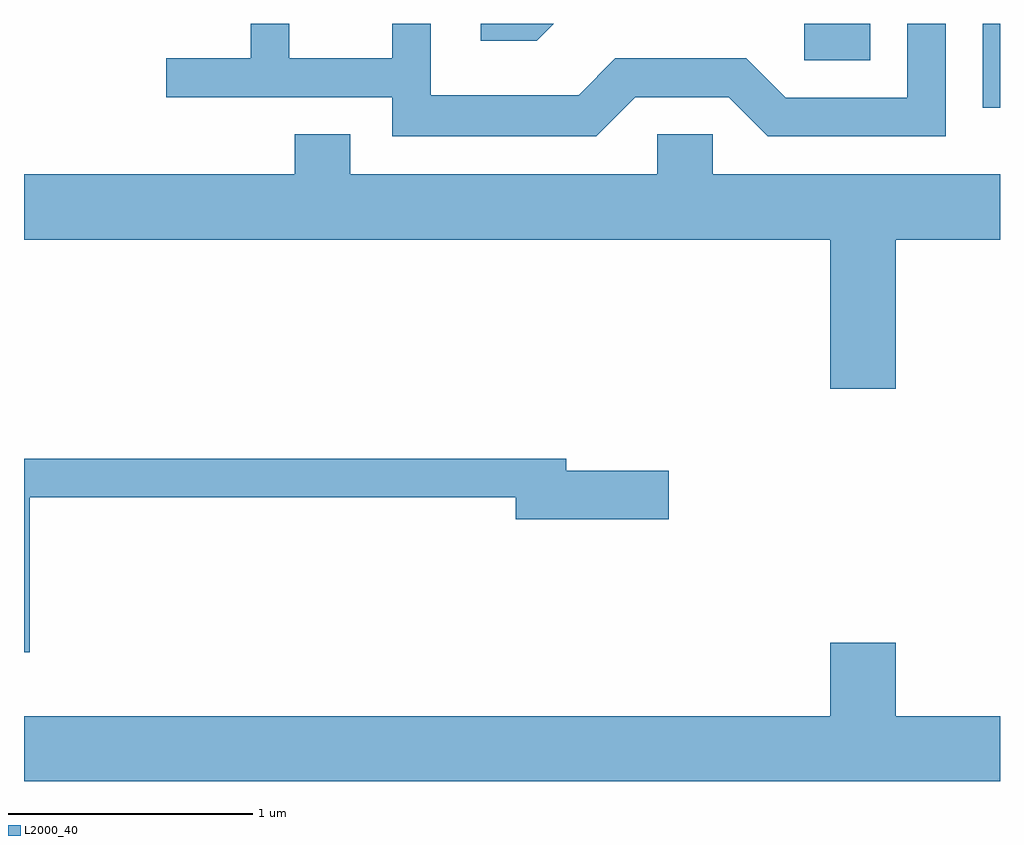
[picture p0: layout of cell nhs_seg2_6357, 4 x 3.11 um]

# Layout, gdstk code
import gdstk
lib = gdstk.Library(unit=1e-6, precision=1e-09)
def R(c, l, rs):  # rectangles x0, y0, x1, y1
    for r in rs: c.add(gdstk.rectangle(r[:2], r[2:], *l))
def P(c, l, *ps):  # polygons
    for p in ps: c.add(gdstk.Polygon(p, *l))
L2000_40 = (2000, 40)

nhs_seg2_6357 = lib.new_cell('nhs_seg2_6357')
R(nhs_seg2_6357, L2000_40, [(375.541,1115.458,375.611,1115.802), (374.808,1115.651,375.079,1115.802)])
P(nhs_seg2_6357, L2000_40, [(374.117,1115.501),(374.499,1115.501),(374.659,1115.341),(375.389,1115.341),(375.389,1115.802),(375.231,1115.802),(375.231,1115.499),(374.732,1115.499),(374.572,1115.659),(374.034,1115.659),(373.884,1115.509),(373.279,1115.509),(373.279,1115.802),(373.121,1115.802),(373.121,1115.659),(372.699,1115.659),(372.699,1115.802),(372.541,1115.802),(372.541,1115.659),(372.193,1115.659),(372.193,1115.501),(373.121,1115.501),(373.121,1115.341),(373.957,1115.341)],
  [(373.783,1115.802),(373.483,1115.802),(373.483,1115.731),(373.712,1115.731)],
  [(372.721,1115.349),(372.721,1115.184),(371.611,1115.184),(371.611,1114.916),(374.916,1114.916),(374.916,1114.306),(375.184,1114.306),(375.184,1114.916),(375.611,1114.916),(375.611,1115.184),(374.434,1115.184),(374.434,1115.349),(374.206,1115.349),(374.206,1115.184),(372.949,1115.184),(372.949,1115.349)],
  [(371.634,1113.861),(373.626,1113.861),(373.626,1113.771),(374.254,1113.771),(374.254,1113.969),(373.834,1113.969),(373.834,1114.019),(371.611,1114.019),(371.611,1113.226),(371.634,1113.226)],
  [(375.611,1112.964),(375.184,1112.964),(375.184,1113.264),(374.916,1113.264),(374.916,1112.964),(371.611,1112.964),(371.611,1112.696),(375.611,1112.696)])

lib.write_gds('nhs_seg2_6357.gds')
